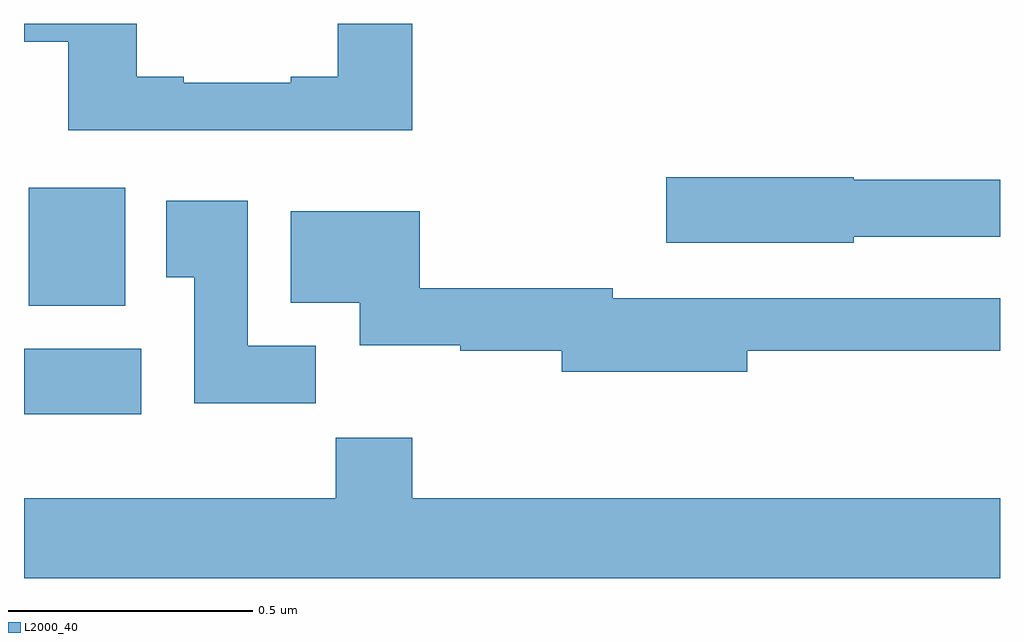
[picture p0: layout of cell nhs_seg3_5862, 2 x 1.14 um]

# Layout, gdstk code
import gdstk
lib = gdstk.Library(unit=1e-6, precision=1e-09)
def R(c, l, rs):  # rectangles x0, y0, x1, y1
    for r in rs: c.add(gdstk.rectangle(r[:2], r[2:], *l))
def P(c, l, *ps):  # polygons
    for p in ps: c.add(gdstk.Polygon(p, *l))
L2000_40 = (2000, 40)

nhs_seg3_5862 = lib.new_cell('nhs_seg3_5862')
R(nhs_seg3_5862, L2000_40, [(184,686.6,184.24,686.734), (184.01,686.822,184.207,687.064)])
P(nhs_seg3_5862, L2000_40, [(184.796,687.4),(184.643,687.4),(184.643,687.292),(184.547,687.292),(184.547,687.279),(184.327,687.279),(184.327,687.292),(184.231,687.292),(184.231,687.4),(184,687.4),(184,687.363),(184.091,687.363),(184.091,687.182),(184.796,687.182)],
  [(185.7,686.964),(186,686.964),(186,687.08),(185.7,687.08),(185.7,687.086),(185.316,687.086),(185.316,686.951),(185.7,686.951)],
  [(184.598,686.74),(184.459,686.74),(184.459,687.037),(184.292,687.037),(184.292,686.881),(184.349,686.881),(184.349,686.622),(184.598,686.622)],
  [(185.482,686.73),(186,686.73),(186,686.838),(185.206,686.838),(185.206,686.858),(184.811,686.858),(184.811,687.016),(184.547,687.016),(184.547,686.828),(184.688,686.828),(184.688,686.741),(184.894,686.741),(184.894,686.73),(185.102,686.73),(185.102,686.687),(185.482,686.687)],
  [(186,686.428),(184.796,686.428),(184.796,686.552),(184.639,686.552),(184.639,686.428),(184,686.428),(184,686.264),(186,686.264)])

lib.write_gds('nhs_seg3_5862.gds')
